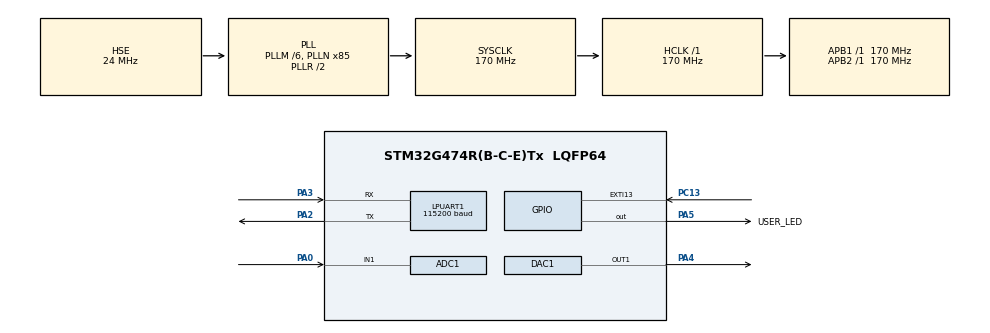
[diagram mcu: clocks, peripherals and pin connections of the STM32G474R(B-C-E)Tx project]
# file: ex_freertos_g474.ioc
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ADC1.Channel-0\#ChannelRegularConversion=ADC_CHANNEL_1
ADC1.ContinuousConvMode=DISABLE
ADC1.DMAContinuousRequests=ENABLE
ADC1.EOCSelection=ADC_EOC_SINGLE_CONV
ADC1.ExternalTrigConv=ADC_EXTERNALTRIG_T8_TRGO
ADC1.NbrOfConversionFlag=1
ADC1.OffsetNumber-0\#ChannelRegularConversion=ADC_OFFSET_NONE
ADC1.OversamplingMode=DISABLE
ADC1.Rank-0\#ChannelRegularConversion=1
ADC1.SamplingTime-0\#ChannelRegularConversion=ADC_SAMPLETIME_2CYCLES_5
ADC1.master=1
DAC1.DAC_Trigger_OUT1-DAC_OUT1=DAC_TRIGGER_T3_TRGO
Dma.ADC1.1.Direction=DMA_PERIPH_TO_MEMORY
Dma.ADC1.1.EventEnable=DISABLE
Dma.ADC1.1.Instance=DMA1_Channel2
Dma.ADC1.1.MemDataAlignment=DMA_MDATAALIGN_HALFWORD
Dma.ADC1.1.MemInc=DMA_MINC_ENABLE
Dma.ADC1.1.Mode=DMA_CIRCULAR
Dma.ADC1.1.PeriphDataAlignment=DMA_PDATAALIGN_HALFWORD
Dma.ADC1.1.PeriphInc=DMA_PINC_DISABLE
Dma.ADC1.1.Polarity=HAL_DMAMUX_REQ_GEN_RISING
Dma.ADC1.1.Priority=DMA_PRIORITY_LOW
Dma.ADC1.1.RequestNumber=1
Dma.ADC1.1.SignalID=NONE
Dma.ADC1.1.SyncEnable=DISABLE
Dma.ADC1.1.SyncPolarity=HAL_DMAMUX_SYNC_NO_EVENT
Dma.ADC1.1.SyncRequestNumber=1
Dma.ADC1.1.SyncSignalID=NONE
Dma.DAC1_CH1.0.Direction=DMA_MEMORY_TO_PERIPH
Dma.DAC1_CH1.0.EventEnable=DISABLE
Dma.DAC1_CH1.0.Instance=DMA1_Channel1
Dma.DAC1_CH1.0.MemDataAlignment=DMA_MDATAALIGN_HALFWORD
Dma.DAC1_CH1.0.MemInc=DMA_MINC_ENABLE
Dma.DAC1_CH1.0.Mode=DMA_CIRCULAR
Dma.DAC1_CH1.0.PeriphDataAlignment=DMA_PDATAALIGN_WORD
Dma.DAC1_CH1.0.PeriphInc=DMA_PINC_DISABLE
Dma.DAC1_CH1.0.Polarity=HAL_DMAMUX_REQ_GEN_RISING
Dma.DAC1_CH1.0.Priority=DMA_PRIORITY_LOW
Dma.DAC1_CH1.0.RequestNumber=1
Dma.DAC1_CH1.0.SignalID=NONE
Dma.DAC1_CH1.0.SyncEnable=DISABLE
Dma.DAC1_CH1.0.SyncPolarity=HAL_DMAMUX_SYNC_NO_EVENT
Dma.DAC1_CH1.0.SyncRequestNumber=1
Dma.DAC1_CH1.0.SyncSignalID=NONE
Dma.Request0=DAC1_CH1
Dma.Request1=ADC1
FREERTOS.Tasks01=defaultTask,0,128,StartDefaultTask,Default,NULL,Dynamic,NULL,NULL
FREERTOS.configENABLE_FPU=1
FREERTOS.configGENERATE_RUN_TIME_STATS=1
FREERTOS.configMAX_PRIORITIES=31
FREERTOS.configRECORD_STACK_HIGH_ADDRESS=1
FREERTOS.configTOTAL_HEAP_SIZE=20480
FREERTOS.configUSE_COUNTING_SEMAPHORES=1
FREERTOS.configUSE_NEWLIB_REENTRANT=1
FREERTOS.configUSE_STATS_FORMATTING_FUNCTIONS=1
FREERTOS.configUSE_TIMERS=1
FREERTOS.configUSE_TRACE_FACILITY=1
LPUART1.BaudRate=115200
Mcu.Family=STM32G4
Mcu.Name=STM32G474R(B-C-E)Tx
Mcu.Package=LQFP64
NVIC.DMA1_Channel1_IRQn=true\:5\:0\:false\:false\:true\:true\:false\:true\:true
NVIC.DMA1_Channel2_IRQn=true\:5\:0\:false\:false\:true\:true\:false\:true\:true
NVIC.EXTI15_10_IRQn=true\:5\:0\:false\:false\:true\:true\:true\:true\:true
NVIC.LPUART1_IRQn=true\:5\:0\:false\:false\:true\:true\:true\:true\:true
NVIC.PriorityGroup=NVIC_PRIORITYGROUP_4
NVIC.TIM1_UP_TIM16_IRQn=true\:15\:0\:false\:false\:true\:false\:false\:true\:true
NVIC.TIM2_IRQn=true\:5\:0\:false\:false\:true\:true\:true\:true\:true
NVIC.TimeBase=TIM1_UP_TIM16_IRQn
NVIC.TimeBaseIP=TIM1
PA0.Mode=IN1-Single-Ended
PA0.Signal=ADC1_IN1
PA13.Mode=Serial_Wire
PA13.Signal=SYS_JTMS-SWDIO
PA14.Mode=Serial_Wire
PA14.Signal=SYS_JTCK-SWCLK
PA2.Mode=Asynchronous
PA2.Signal=LPUART1_TX
PA3.Mode=Asynchronous
PA3.Signal=LPUART1_RX
PA4.Signal=COMP_DAC11_group
PA5.GPIO_Label=USER_LED
PA5.Signal=GPIO_Output
PC13.GPIO_ModeDefaultEXTI=GPIO_MODE_IT_FALLING
PC13.GPIO_PuPd=GPIO_NOPULL
PC13.Signal=GPXTI13
PF0-OSC_IN.Mode=HSE-External-Oscillator
PF0-OSC_IN.Signal=RCC_OSC_IN
PF1-OSC_OUT.Mode=HSE-External-Oscillator
PF1-OSC_OUT.Signal=RCC_OSC_OUT
ProjectManager.HeapSize=0x200
ProjectManager.StackSize=0x400
ProjectManager.TargetToolchain=STM32CubeIDE
RCC.ADC12Freq_Value=170000000
RCC.ADC345Freq_Value=170000000
RCC.AHBFreq_Value=170000000
RCC.APB1Freq_Value=170000000
RCC.APB1TimFreq_Value=170000000
RCC.APB2Freq_Value=170000000
RCC.APB2TimFreq_Value=170000000
RCC.CortexFreq_Value=170000000
RCC.EXTERNAL_CLOCK_VALUE=12288000
RCC.HCLKFreq_Value=170000000
RCC.HSE_VALUE=24000000
RCC.HSI48_VALUE=48000000
RCC.HSI_VALUE=16000000
RCC.LSE_VALUE=32768
RCC.PLLM=RCC_PLLM_DIV6
RCC.PLLN=85
RCC.PLLSourceVirtual=RCC_PLLSOURCE_HSE
RCC.SYSCLKFreq_VALUE=170000000
RCC.SYSCLKSource=RCC_SYSCLKSOURCE_PLLCLK
RCC.USBFreq_Value=170000000
RCC.VCOOutputFreq_Value=340000000
SH.COMP_DAC11_group.0=DAC1_OUT1,DAC_OUT1
TIM2.AutoReloadPreload=TIM_AUTORELOAD_PRELOAD_ENABLE
TIM2.PeriodNoDither=1699
TIM3.AutoReloadPreload=TIM_AUTORELOAD_PRELOAD_ENABLE
TIM3.PeriodNoDither=11067
TIM3.TIM_MasterOutputTrigger=TIM_TRGO_UPDATE
TIM8.AutoReloadPreload=TIM_AUTORELOAD_PRELOAD_ENABLE
TIM8.TIM_MasterOutputTrigger=TIM_TRGO_UPDATE
VP_FREERTOS_VS_CMSIS_V1.Mode=CMSIS_V1
VP_SYS_VS_tim1.Mode=TIM1
VP_TIM2_VS_ClockSourceINT.Mode=Internal
VP_TIM3_VS_ClockSourceINT.Mode=Internal
VP_TIM8_VS_ClockSourceINT.Mode=Internal
board=custom

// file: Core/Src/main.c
/* USER CODE BEGIN Header */
/**
  ******************************************************************************
  * @file           : main.c
  * @brief          : Main program body
  ******************************************************************************
  * @attention
  *
  * Copyright (c) 2023 STMicroelectronics.
  * All rights reserved.
  *
  * This software is licensed under terms that can be found in the LICENSE file
  * in the root directory of this software component.
  * If no LICENSE file comes with this software, it is provided AS-IS.
  *
  ******************************************************************************
  */
/* USER CODE END Header */
#include "main.h"
#include "cmsis_os.h"

/* USER CODE BEGIN Includes */
#include "message_buffer.h"
#include "FreeRTOS_CLI.h"
#include <stdio.h>
#include <stdlib.h>
#include <string.h>
#include "arm_const_structs.h"
/* USER CODE END Includes */

ADC_HandleTypeDef hadc1;
DMA_HandleTypeDef hdma_adc1;

DAC_HandleTypeDef hdac1;
DMA_HandleTypeDef hdma_dac1_ch1;

UART_HandleTypeDef hlpuart1;

TIM_HandleTypeDef htim2;
TIM_HandleTypeDef htim3;
TIM_HandleTypeDef htim8;

osThreadId defaultTaskHandle;

void SystemClock_Config(void);
static void MX_GPIO_Init(void);
static void MX_DMA_Init(void);
static void MX_LPUART1_UART_Init(void);
static void MX_TIM2_Init(void);
static void MX_DAC1_Init(void);
static void MX_ADC1_Init(void);
static void MX_TIM3_Init(void);
static void MX_TIM8_Init(void);
void StartDefaultTask(void const * argument);

/* USER CODE BEGIN PFP */
SemaphoreHandle_t 		mutex_lpuart;
SemaphoreHandle_t 		sem_lpuart;
//SemaphoreHandle_t     sem_adc;
QueueHandle_t 			queue_adc;
//SemaphoreHandle_t 	sem_button;
QueueHandle_t 			queue_button;
QueueHandle_t 			queue_lpuart;
MessageBufferHandle_t 	print_messages_buffer;
TimerHandle_t 			blinky_tm;
TimerHandle_t 			button_tm;

//static xQueueSetMemberHandle link_event;

uint16_t 	adcBuffer[256*2];
float 		ReIm[256*2];
float 		mod[256];
/* USER CODE END PFP */

/* USER CODE BEGIN 0 */

void print_string(char *string, TickType_t timeout) {
	if (xSemaphoreTake(mutex_lpuart, timeout) == pdTRUE){
		(void)xMessageBufferSend(print_messages_buffer, string, strlen(string), portMAX_DELAY);
		xSemaphoreGive(mutex_lpuart);
	}
}

void print_char(char string, TickType_t timeout) {
	if (xSemaphoreTake(mutex_lpuart, timeout) == pdTRUE){
		(void)xMessageBufferSend(print_messages_buffer, &string, 1, portMAX_DELAY);
		xSemaphoreGive(mutex_lpuart);
	}
}

#if 0
static void serial_task1(void *param){
	//uint32_t cnt = 0;
	while(1){
		print_string("Teste de serial 1!\n\r", portMAX_DELAY);
#if 0
		if (xSemaphoreTake(mutex_lpuart, portMAX_DELAY) == pdTRUE){
			//HAL_UART_Transmit_IT(&hlpuart1, (uint8_t *)"Teste de serial 1!\n\r", 20);
			//xSemaphoreTake(sem_lpuart, portMAX_DELAY);
			if (xMessageBufferSend(print_messages_buffer, "Teste de serial 1!\n\r", 20, portMAX_DELAY) == 20){
				cnt++;
			}
			xSemaphoreGive(mutex_lpuart);
			//cnt++;
		}
#endif
		portYIELD();
	}
}

//volatile size_t space = 0;
static void serial_task2(void *param){
	//uint32_t cnt = 0;weasdx
	print_string("Teste de serial 2!\n\r", portMAX_DELAY);
	while(1){
#if 0
		if (xSemaphoreTake(mutex_lpuart, portMAX_DELAY) == pdTRUE){
			//HAL_UART_Transmit_IT(&hlpuart1, (uint8_t *)"Teste de serial 2!\n\r", 20);
			//xSemaphoreTake(sem_lpuart, portMAX_DELAY);
			if (xMessageBufferSend(print_messages_buffer, "Teste de serial 2!\n\r", 20, portMAX_DELAY) == 20) {
				cnt++;
			}
			xSemaphoreGive(mutex_lpuart);
			space = xMessageBufferSpaceAvailable(print_messages_buffer);
			//cnt++;
		}
#endif
		portYIELD();
	}
}

static void sobra_cpu(void *param){
	uint32_t cnt = 0;
	while(1){
		cnt++;
		if (cnt == 100000000) {
			xTimerChangePeriod(blinky_tm, 1000, 0);
		}
	}
}
#endif

void HAL_UART_TxCpltCallback(UART_HandleTypeDef *huart){
	portBASE_TYPE pxHigherPriorityTaskWoken = pdFALSE;
	xSemaphoreGiveFromISR(sem_lpuart, &pxHigherPriorityTaskWoken);
	portYIELD_FROM_ISR(pxHigherPriorityTaskWoken);
}

char lpuart_data;
void HAL_UART_RxCpltCallback(UART_HandleTypeDef *huart){
	portBASE_TYPE pxHigherPriorityTaskWoken = pdFALSE;
	xQueueSendFromISR(queue_lpuart, &lpuart_data, &pxHigherPriorityTaskWoken);
	HAL_UART_Receive_IT(&hlpuart1, (uint8_t *)&lpuart_data, 1);
	portYIELD_FROM_ISR(pxHigherPriorityTaskWoken);
}

void lpuart_get_char(char *data, TickType_t timeout){
	xQueueReceive(queue_lpuart, data, timeout);
}

static void print_task(void *param){
	char mensagem[512];
	while(1){
		size_t len = xMessageBufferReceive(print_messages_buffer, mensagem, 512, portMAX_DELAY);
		if (len) {
			HAL_UART_Transmit_IT(&hlpuart1, (uint8_t *)mensagem, len);
			xSemaphoreTake(sem_lpuart, portMAX_DELAY);
		}
	}
}

static BaseType_t prvTaskStatsCommand( char *pcWriteBuffer,
                                          size_t xWriteBufferLen,
										  const char *pcCommandString )
{
    static BaseType_t state = 0;

    if (!state){
        /* For simplicity, this function assumes the output buffer is large enough
        to hold all the text generated by executing the vTaskList() API function,
        so the xWriteBufferLen parameter is not used. */
        char *head = "Name		State  Priority  Stack  Number\n\r";
        ( void ) xWriteBufferLen;

        /* pcWriteBuffer is used directly as the vTaskList() parameter, so the table
        generated by executing vTaskList() is written directly into the output
        buffer. */
        strcpy(pcWriteBuffer, head);
        vTaskList( &pcWriteBuffer[strlen(head)]);

        /* The entire table was written directly to the output buffer.  Execution
        of this command is complete, so return pdFALSE. */
        state = 1;
        return pdTRUE;
    }else{
        state = 0;
        strcpy(pcWriteBuffer, "\n\r");
        return pdFALSE;
    }
}

static const CLI_Command_Definition_t xTasksCommand =
{
    "tasks",
	"tasks: Lists all the installed tasks\r\n\r\n",
	prvTaskStatsCommand,
    0
};

static BaseType_t prvRunTimeStatsCommand( char *pcWriteBuffer,
                                          size_t xWriteBufferLen,
										  const char *pcCommandString )
{
    /* For simplicity, this function assumes the output buffer is large enough
    to hold all the text generated by executing the vTaskList() API function,
    so the xWriteBufferLen parameter is not used. */
	char *head = "Name		Abs Time      % Time\n\r";
    ( void ) xWriteBufferLen;

    /* pcWriteBuffer is used directly as the vTaskList() parameter, so the table
    generated by executing vTaskList() is written directly into the output
    buffer. */
    strcpy(pcWriteBuffer, head);
    vTaskGetRunTimeStats( &pcWriteBuffer[strlen(head)]);

    /* The entire table was written directly to the output buffer.  Execution
    of this command is complete, so return pdFALSE. */
    return pdFALSE;
}

static const CLI_Command_Definition_t xRunTimeCommand =
{
    "runtime",
	"runtime: Lists the tasks runtime info\r\n\r\n",
	prvRunTimeStatsCommand,
    0
};

uint16_t sin_wave[256];
uint16_t sin_wave_3rd_harmonic[256];
static BaseType_t prvTaskDACCommand( char *pcWriteBuffer,
                                          size_t xWriteBufferLen,
										  const char *pcCommandString )
{
    BaseType_t parameter_lenght;
    const char *parameter = FreeRTOS_CLIGetParameter(pcCommandString, 1, &parameter_lenght);

	if (!strcmp(parameter, "sine")) {
		HAL_TIM_Base_Stop(&htim2);
		HAL_DAC_Stop_DMA(&hdac1, DAC_CHANNEL_1);
		HAL_DAC_Start_DMA(&hdac1, DAC_CHANNEL_1, (uint32_t*)sin_wave, 256, DAC_ALIGN_12B_R);
	    HAL_TIM_Base_Start(&htim2);
	    strcpy(pcWriteBuffer, "Sine set for the DAC signal\n\r");
	}else if (!strcmp(parameter, "sine3rd")){
		HAL_TIM_Base_Stop(&htim2);
		HAL_DAC_Stop_DMA(&hdac1, DAC_CHANNEL_1);
		HAL_DAC_Start_DMA(&hdac1, DAC_CHANNEL_1, (uint32_t*)sin_wave_3rd_harmonic, 256, DAC_ALIGN_12B_R);
	    HAL_TIM_Base_Start(&htim2);
	    strcpy(pcWriteBuffer, "Sine 3rd harmonic set for the DAC signal\n\r");
	}else{
		strcpy(pcWriteBuffer, "Not a valid DAC signal!\n\r");
	}
	return pdFALSE;
}

static const CLI_Command_Definition_t xADCCommand =
{
    "dac_signal",
	"dac_signal: Define the DAC signal (sine or sine3rd)\r\n\r\n",
	prvTaskDACCommand,
    1
};

static BaseType_t prvTaskFFTCommand( char *pcWriteBuffer,
                                          size_t xWriteBufferLen,
										  const char *pcCommandString )
{
    BaseType_t parameter_lenght;
    const char *parameter1 = FreeRTOS_CLIGetParameter(pcCommandString, 1, &parameter_lenght);
    const char *parameter2 = FreeRTOS_CLIGetParameter(pcCommandString, 2, &parameter_lenght);

    int first_harm = atoi(parameter1);
    int number_harm = atoi(parameter2);

    if ((first_harm >= 0) && (number_harm > 0)){
        int len = sprintf(pcWriteBuffer, "FFT result for the current DAC signal (%d, %d): ", first_harm, number_harm);
        for (int i = first_harm; i<(number_harm+first_harm);i++){
        	if (i == 0) {
        		len += sprintf(&pcWriteBuffer[len], "%f ", mod[i]/2.0);
        	}else {
        		len += sprintf(&pcWriteBuffer[len], "%f ", mod[i]);
        	}
        }
        sprintf(&pcWriteBuffer[len], "\n\r");
    }else {
    	strcpy(pcWriteBuffer, "Invalid parameters!\n\r");
    }

	return pdFALSE;
}

static const CLI_Command_Definition_t xFFTCommand =
{
    "fft",
	"fft: Return the FFT of the DAC signal\r\nPamameters: first harmonic and number of harmonics\r\n",
	prvTaskFFTCommand,
    2
};

#define cmdPARAMTER_NOT_USED		( ( void * ) 0 )
#define MAX_INPUT_LENGTH    50
#define MAX_OUTPUT_LENGTH   512
static void shell_task(void *param){
	char cRxedChar;
	BaseType_t cInputIndex = 0;
	BaseType_t xMoreDataToFollow;
	/* The input and output buffers are declared static to keep them off the stack. */
	static char pcOutputString[ MAX_OUTPUT_LENGTH ], pcInputString[ MAX_INPUT_LENGTH ];

	HAL_UART_Receive_IT(&hlpuart1, (uint8_t *)&lpuart_data, 1);

	FreeRTOS_CLIRegisterCommand( &xTasksCommand );
	FreeRTOS_CLIRegisterCommand( &xRunTimeCommand );
	FreeRTOS_CLIRegisterCommand( &xADCCommand );
	FreeRTOS_CLIRegisterCommand( &xFFTCommand );
	print_string("Welcome to FreeRTOS ", portMAX_DELAY);
	print_string(tskKERNEL_VERSION_NUMBER, portMAX_DELAY);
	print_string("\n\r", portMAX_DELAY);

	print_string(">>", portMAX_DELAY);

	while(1){
			/* This implementation reads a single character at a time.  Wait in the
	        Blocked state until a character is received. */
			lpuart_get_char(&cRxedChar, portMAX_DELAY);

	        if( cRxedChar == '\r' )
	        {
	            /* A newline character was received, so the input command string is
	            complete and can be processed.  Transmit a line separator, just to
	            make the output easier to read. */
	        	print_string("\n\r", portMAX_DELAY);

	            /* The command interpreter is called repeatedly until it returns
	            pdFALSE.  See the "Implementing a command" documentation for an
	            exaplanation of why this is. */
	            do
	            {
	                /* Send the command string to the command interpreter.  Any
	                output generated by the command interpreter will be placed in the
	                pcOutputString buffer. */
	                xMoreDataToFollow = FreeRTOS_CLIProcessCommand
	                              (
	                                  pcInputString,   /* The command string.*/
	                                  pcOutputString,  /* The output buffer. */
	                                  MAX_OUTPUT_LENGTH/* The size of the output buffer. */
	                              );

	                /* Write the output generated by the command interpreter to the
	                console. */
	                print_string(pcOutputString, portMAX_DELAY);
	                print_string(">>", portMAX_DELAY);

	            } while( xMoreDataToFollow != pdFALSE );

	            /* All the strings generated by the input command have been sent.
	            Processing of the command is complete.  Clear the input string ready
	            to receive the next command. */
	            cInputIndex = 0;
	            memset( pcInputString, 0x00, MAX_INPUT_LENGTH );
	        }
	        else
	        {
	            /* The if() clause performs the processing after a newline character
	            is received.  This else clause performs the processing if any other
	            character is received. */

	            if( cRxedChar == '\n' )
	            {
	                /* Ignore carriage returns. */
	            }
	            //else if( cRxedChar == '\b' )
	            else if( cRxedChar == 0x7F )
	            {
	                /* Backspace was pressed.  Erase the last character in the input
	                buffer - if there are any. */
	                if( cInputIndex > 0 )
	                {
	                    cInputIndex--;
	                    pcInputString[ cInputIndex ] = (char)'\0';
		                print_char(cRxedChar, portMAX_DELAY);
	                }
	            }
	            else
	            {
	                /* A character was entered.  It was not a new line, backspace
	                or carriage return, so it is accepted as part of the input and
	                placed into the input buffer.  When a \n is entered the complete
	                string will be passed to the command interpreter. */
	                if( cInputIndex < MAX_INPUT_LENGTH )
	                {
	                    pcInputString[ cInputIndex ] = cRxedChar;
	                    cInputIndex++;
	                }
	                print_char(cRxedChar, portMAX_DELAY);
	            }
	        }
	}
}

#define BUTTON_0	(uint8_t)GPIO_PIN_13
#define BUTTON_1	(uint8_t)GPIO_PIN_14

BaseType_t read_button(uint8_t *button, TickType_t timeout){
	return xQueueReceive(queue_button, button, timeout);
}

static void keyboard_task(void *param){
	uint8_t button;
	char buffer[512];
	while(1){
		(void)read_button(&button, portMAX_DELAY);
		if (button == BUTTON_0) {
			vTaskList(buffer);
			print_string(buffer, 10);
		}
	}
}

/*
static void button_task(void *param){
	int cnt = 0;
	while(1){
		xSemaphoreTake(sem_button, portMAX_DELAY);
		cnt++;
		vTaskDelay(100);
		if (HAL_GPIO_ReadPin(GPIOC, BUTTON_0) == GPIO_PIN_RESET) {
			// guardar em uma fila de botões
			uint8_t button = BUTTON_0;
			xQueueSend(queue_button, &button, portMAX_DELAY);
		}
	    __HAL_GPIO_EXTI_CLEAR_IT(BUTTON_0);
		HAL_NVIC_EnableIRQ(EXTI15_10_IRQn);

	}
}
*/
void button_cb(TimerHandle_t xTimer)
{
  (void) xTimer;
	if (HAL_GPIO_ReadPin(GPIOC, BUTTON_0) == GPIO_PIN_RESET) {
		// guardar em uma fila de botões
		uint8_t button = BUTTON_0;
		xQueueSend(queue_button, &button, 0);
	}
  __HAL_GPIO_EXTI_CLEAR_IT(BUTTON_0);
	HAL_NVIC_EnableIRQ(EXTI15_10_IRQn);
}

//volatile uint32_t cnt = 0;
void HAL_GPIO_EXTI_Callback(uint16_t GPIO_Pin)
{
  if (GPIO_Pin == GPIO_PIN_13)
  {
    //cnt++;
    HAL_NVIC_DisableIRQ(EXTI15_10_IRQn);
	portBASE_TYPE pxHigherPriorityTaskWoken = pdFALSE;
	//xSemaphoreGiveFromISR(sem_button, &pxHigherPriorityTaskWoken);
    xTimerStartFromISR(button_tm, &pxHigherPriorityTaskWoken);
	portYIELD_FROM_ISR(pxHigherPriorityTaskWoken);
  }
}

void led_blinky_cb(TimerHandle_t xTimer)
{
  (void) xTimer;
  HAL_GPIO_TogglePin(USER_LED_GPIO_Port, USER_LED_Pin);
}

#if 0
#define EVENTO_0 ( 1 << 0 )
#define EVENTO_1 ( 1 << 1 )

/* Assume-se que o grupo de eventos foi criado anteriormente */
EventGroupHandle_t 	exemplo_grupo_eventos;
EventBits_t 		exemplo_bits_eventos;

static void produtor1(void *param){
	while(1){
		 vTaskDelay(33);
		 exemplo_bits_eventos = xEventGroupSetBits(exemplo_grupo_eventos, EVENTO_0);
	}
}

static void produtor2(void *param){
	while(1){
		vTaskDelay(75);
		exemplo_bits_eventos = xEventGroupSetBits(exemplo_grupo_eventos, EVENTO_1);
	}
}

static void consumidor(void *param){

	while(1){
		exemplo_bits_eventos = xEventGroupWaitBits(
				exemplo_grupo_eventos, 								/* Grupo de eventos sendo testado */
				EVENTO_0 | EVENTO_1, 								/* Bits do grupo de eventos para esperar */
				pdTRUE,												/* Os bits devem ser definidos como 0 antes de retornar. */
				pdTRUE,												/* Espera por ambos os bits */
				100 );												/* Espera por no máximo 100 ms. */

		TickType_t ct = xTaskGetTickCount();
		if (xSemaphoreTake(mutex_lpuart, portMAX_DELAY) == pdTRUE){
			char message[64];
			int len = sprintf(message, "Sincronizacao no tempo: %ld\n", ct);
			(void)xMessageBufferSend(print_messages_buffer, message, len, portMAX_DELAY);
			xSemaphoreGive(mutex_lpuart);
		}
	}
}
#endif

uint16_t sin_wave[256] = {2048, 2098, 2148, 2199, 2249, 2299, 2349, 2399, 2448, 2498, 2547, 2596, 2644, 2692, 2740,
		2787, 2834, 2880, 2926, 2971, 3016, 3060, 3104, 3147, 3189, 3230, 3271, 3311, 3351, 3389,
		3427, 3464, 3500, 3535, 3569, 3602, 3635, 3666, 3697, 3726, 3754, 3782, 3808, 3833, 3857,
		3880, 3902, 3923, 3943, 3961, 3979, 3995, 4010, 4024, 4036, 4048, 4058, 4067, 4074, 4081,
		4086, 4090, 4093, 4095, 4095, 4094, 4092, 4088, 4084, 4078, 4071, 4062, 4053, 4042, 4030,
		4017, 4002, 3987, 3970, 3952, 3933, 3913, 3891, 3869, 3845, 3821, 3795, 3768, 3740, 3711,
		3681, 3651, 3619, 3586, 3552, 3517, 3482, 3445, 3408, 3370, 3331, 3291, 3251, 3210, 3168,
		3125, 3082, 3038, 2994, 2949, 2903, 2857, 2811, 2764, 2716, 2668, 2620, 2571, 2522, 2473,
		2424, 2374, 2324, 2274, 2224, 2174, 2123, 2073, 2022, 1972, 1921, 1871, 1821, 1771, 1721,
		1671, 1622, 1573, 1524, 1475, 1427, 1379, 1331, 1284, 1238, 1192, 1146, 1101, 1057, 1013,
		970, 927, 885, 844, 804, 764, 725, 687, 650, 613, 578, 543, 509, 476, 444,
		414, 384, 355, 327, 300, 274, 250, 226, 204, 182, 162, 143, 125, 108, 93,
		78, 65, 53, 42, 33, 24, 17, 11, 7, 3, 1, 0, 0, 2, 5,
		9, 14, 21, 28, 37, 47, 59, 71, 85, 100, 116, 134, 152, 172, 193,
		215, 238, 262, 287, 313, 341, 369, 398, 429, 460, 493, 526, 560, 595, 631,
		668, 706, 744, 784, 824, 865, 906, 948, 991, 1035, 1079, 1124, 1169, 1215, 1261,
		1308, 1355, 1403, 1451, 1499, 1548, 1597, 1647, 1696, 1746, 1796, 1846, 1896, 1947, 1997,
		2047};

uint16_t sin_wave_3rd_harmonic[256] = {2048, 2136, 2224, 2311, 2398, 2484, 2569, 2652, 2734, 2814, 2892, 2968, 3041, 3112, 3180,
		3245, 3308, 3367, 3423, 3476, 3526, 3572, 3615, 3654, 3690, 3723, 3752, 3778, 3800, 3819,
		3835, 3848, 3858, 3866, 3870, 3872, 3871, 3869, 3864, 3857, 3848, 3838, 3827, 3814, 3801,
		3786, 3771, 3756, 3740, 3725, 3709, 3694, 3679, 3665, 3652, 3639, 3628, 3617, 3608, 3600,
		3594, 3589, 3585, 3584, 3583, 3584, 3587, 3591, 3597, 3604, 3613, 3622, 3633, 3645, 3658,
		3672, 3686, 3701, 3717, 3732, 3748, 3764, 3779, 3794, 3808, 3821, 3833, 3844, 3853, 3860,
		3866, 3870, 3872, 3871, 3868, 3862, 3854, 3842, 3828, 3810, 3789, 3765, 3738, 3707, 3673,
		3635, 3594, 3549, 3501, 3450, 3396, 3338, 3277, 3213, 3146, 3077, 3005, 2930, 2853, 2774,
		2693, 2611, 2527, 2441, 2355, 2268, 2180, 2092, 2003, 1915, 1827, 1740, 1654, 1568, 1484,
		1402, 1321, 1242, 1165, 1090, 1018, 949, 882, 818, 757, 699, 645, 594, 546, 501,
		460, 422, 388, 357, 330, 306, 285, 267, 253, 241, 233, 227, 224, 223, 225,
		229, 235, 242, 251, 262, 274, 287, 301, 316, 331, 347, 363, 378, 394, 409,
		423, 437, 450, 462, 473, 482, 491, 498, 504, 508, 511, 512, 511, 510, 506,
		501, 495, 487, 478, 467, 456, 443, 430, 416, 401, 386, 370, 355, 339, 324,
		309, 294, 281, 268, 257, 247, 238, 231, 226, 224, 223, 225, 229, 237, 247,
		260, 276, 295, 317, 343, 372, 405, 441, 480, 523, 569, 619, 672, 728, 787,
		850, 915, 983, 1054, 1127, 1203, 1281, 1361, 1443, 1526, 1611, 1697, 1784, 1871, 1959,
		2047};

void HAL_ADC_ConvHalfCpltCallback(ADC_HandleTypeDef* hadc){
	portBASE_TYPE pxHigherPriorityTaskWoken = pdFALSE;
	//xSemaphoreGiveFromISR(sem_adc, &pxHigherPriorityTaskWoken);
	uint8_t buffer=1;
	xQueueSendToBackFromISR(queue_adc, &buffer, &pxHigherPriorityTaskWoken);
	portYIELD_FROM_ISR(pxHigherPriorityTaskWoken);
}

void HAL_ADC_ConvCpltCallback(ADC_HandleTypeDef* hadc){
	portBASE_TYPE pxHigherPriorityTaskWoken = pdFALSE;
	//xSemaphoreGiveFromISR(sem_adc, &pxHigherPriorityTaskWoken);
	uint8_t buffer=2;
	xQueueSendToBackFromISR(queue_adc, &buffer, &pxHigherPriorityTaskWoken);
	portYIELD_FROM_ISR(pxHigherPriorityTaskWoken);
}

//volatile int counter = 0;
//volatile int flag = 0;
void HAL_DAC_ConvCpltCallbackCh1(DAC_HandleTypeDef* hadc){
#if 0
	counter++;
	if (counter >= 120){
		counter = 0;
		HAL_TIM_Base_Stop(&htim2);
		HAL_DAC_Stop_DMA(&hdac, DAC_CHANNEL_1);

		if (flag == 0){
			HAL_DAC_Start_DMA(&hdac, DAC_CHANNEL_1, (uint32_t*)sin_wave_3rd_harmonic, 256, DAC_ALIGN_12B_R);
			flag = 1;
		}else{
			HAL_DAC_Start_DMA(&hdac, DAC_CHANNEL_1, (uint32_t*)sin_wave, 256, DAC_ALIGN_12B_R);
			flag = 0;
		}
	    HAL_TIM_Base_Start(&htim2);
	}
#endif
}

void adc_task(void *param){
	HAL_ADC_Start_DMA(&hadc1, (uint32_t *)adcBuffer, 256*2);
    HAL_DAC_Start_DMA(&hdac1, DAC_CHANNEL_1, (uint32_t*)sin_wave_3rd_harmonic, 256, DAC_ALIGN_12B_R);

	HAL_TIM_Base_Start(&htim8);
    HAL_TIM_Base_Start(&htim3);

    uint8_t dual_buffer_choice = 0;
    float cc_value = 0.0;
	while(1){
		//xSemaphoreTake(sem_adc, portMAX_DELAY);
		xQueueReceive(queue_adc, &dual_buffer_choice, portMAX_DELAY);

		int k = 0;
		if (dual_buffer_choice == 1){
			for(int i = 0; i < 256; i++){
				ReIm[k] = (float)adcBuffer[i] * 0.0008056640625;
				cc_value += ReIm[k];
				ReIm[k+1] = 0.0;
				k += 2;
			}
		}
		if (dual_buffer_choice == 2){
			for(int i = 0; i < 256; i++){
				ReIm[k] = (float)adcBuffer[i+256] * 0.0008056640625;
				cc_value += ReIm[k];
				ReIm[k+1] = 0.0;
				k += 2;
			}
		}

		cc_value /= 256;
		float rms = 0.0;
		for(int i = 0; i < 256; i++){
			rms += (ReIm[k] - cc_value) * (ReIm[k] - cc_value);
		}
		rms = sqrtf(rms/256);

		arm_cfft_f32(&arm_cfft_sR_f32_len256,ReIm,0,1);
		arm_cmplx_mag_f32(ReIm,mod,256);
		arm_scale_f32(mod, 0.0078125, mod, 128);

		volatile float fund_phase = atan2f(ReIm[3],ReIm[2])*180/M_PI;	//Fase R da harmonica fundamental
		(void)fund_phase;

	}
}
/* USER CODE END 0 */

int main(void)
{

  /* MCU Configuration--------------------------------------------------------*/

  /* Reset of all peripherals, Initializes the Flash interface and the Systick. */
  HAL_Init();

  /* Configure the system clock */
  SystemClock_Config();

  /* USER CODE BEGIN SysInit */
  //board_init();
  /* USER CODE END SysInit */

  /* Initialize all configured peripherals */
  MX_GPIO_Init();
  MX_DMA_Init();
  MX_LPUART1_UART_Init();
  MX_TIM2_Init();
  MX_DAC1_Init();
  MX_ADC1_Init();
  MX_TIM3_Init();
  MX_TIM8_Init();

  /* USER CODE BEGIN RTOS_MUTEX */
  /* add mutexes, ... */
  mutex_lpuart = xSemaphoreCreateMutex();
  /* USER CODE END RTOS_MUTEX */

  /* USER CODE BEGIN RTOS_SEMAPHORES */
  /* add semaphores, ... */
  sem_lpuart = xSemaphoreCreateBinary();
  //sem_adc = xSemaphoreCreateBinary();
  //sem_button = xSemaphoreCreateBinary();
  /* USER CODE END RTOS_SEMAPHORES */

  /* USER CODE BEGIN RTOS_TIMERS */
  /* start timers, add new ones, ... */
  blinky_tm = xTimerCreate("Blink timer", pdMS_TO_TICKS(200), pdTRUE, NULL, led_blinky_cb);
  xTimerStart(blinky_tm, 0);
  button_tm = xTimerCreate("Button timer", pdMS_TO_TICKS(100), pdFALSE, NULL, button_cb);
  /* USER CODE END RTOS_TIMERS */

  /* USER CODE BEGIN RTOS_QUEUES */
  /* add queues, ... */
  queue_button = xQueueCreate(128, sizeof(uint8_t));
  queue_lpuart = xQueueCreate(128, sizeof(uint8_t));
  queue_adc = xQueueCreate(1, sizeof(uint8_t));
  print_messages_buffer = xMessageBufferCreate(1024);
  /* USER CODE END RTOS_QUEUES */

  /* Create the thread(s) */
  /* definition and creation of defaultTask */
  osThreadDef(defaultTask, StartDefaultTask, osPriorityNormal, 0, 128);
  defaultTaskHandle = osThreadCreate(osThread(defaultTask), NULL);

  /* USER CODE BEGIN RTOS_THREADS */
  /* add threads, ... */
#if 0
  xTaskCreate(serial_task1, "Task serial 1", 256, NULL, 5, NULL);
  xTaskCreate(serial_task2, "Task serial 2", 256, NULL, 5, NULL);
  xTaskCreate(button_task, "Button Task", 256, NULL, 12, NULL);
  xTaskCreate(sobra_cpu, "Sobra CPU", 256, NULL, 1, NULL);
#endif

  xTaskCreate(print_task, "Print Task", 256, NULL, 10, NULL);
  xTaskCreate(keyboard_task, "Keyboard Task", 512, NULL, 5, NULL);
  xTaskCreate(shell_task, "Shell Task", 256, NULL, 2, NULL);
  xTaskCreate(adc_task, "ADC Task", 512, NULL, 6, NULL);

#if 0
  xTaskCreate(produtor1, "Tarefa produtora 1", 256, NULL, 7, NULL);
  xTaskCreate(produtor2, "Tarefa produtora 2", 256, NULL, 8, NULL);
  xTaskCreate(consumidor, "Tarefa consumidora", 256, NULL, 8, NULL);
  /* Tentativa de criar o grupo */
  exemplo_grupo_eventos = xEventGroupCreate();
#endif

  /* USER CODE END RTOS_THREADS */

  /* Start scheduler */
  osKernelStart();

  /* We should never get here as control is now taken by the scheduler */
  /* Infinite loop */
  while (1)
  {

  }
}

void SystemClock_Config(void)
{
  RCC_OscInitTypeDef RCC_OscInitStruct = {0};
  RCC_ClkInitTypeDef RCC_ClkInitStruct = {0};

  /** Configure the main internal regulator output voltage
  */
  HAL_PWREx_ControlVoltageScaling(PWR_REGULATOR_VOLTAGE_SCALE1_BOOST);

  /** Initializes the RCC Oscillators according to the specified parameters
  * in the RCC_OscInitTypeDef structure.
  */
  RCC_OscInitStruct.OscillatorType = RCC_OSCILLATORTYPE_HSE;
  RCC_OscInitStruct.HSEState = RCC_HSE_ON;
  RCC_OscInitStruct.PLL.PLLState = RCC_PLL_ON;
  RCC_OscInitStruct.PLL.PLLSource = RCC_PLLSOURCE_HSE;
  RCC_OscInitStruct.PLL.PLLM = RCC_PLLM_DIV6;
  RCC_OscInitStruct.PLL.PLLN = 85;
  RCC_OscInitStruct.PLL.PLLP = RCC_PLLP_DIV2;
  RCC_OscInitStruct.PLL.PLLQ = RCC_PLLQ_DIV2;
  RCC_OscInitStruct.PLL.PLLR = RCC_PLLR_DIV2;
  if (HAL_RCC_OscConfig(&RCC_OscInitStruct) != HAL_OK)
  {
    Error_Handler();
  }

  /** Initializes the CPU, AHB and APB buses clocks
  */
  RCC_ClkInitStruct.ClockType = RCC_CLOCKTYPE_HCLK|RCC_CLOCKTYPE_SYSCLK
                              |RCC_CLOCKTYPE_PCLK1|RCC_CLOCKTYPE_PCLK2;
  RCC_ClkInitStruct.SYSCLKSource = RCC_SYSCLKSOURCE_PLLCLK;
  RCC_ClkInitStruct.AHBCLKDivider = RCC_SYSCLK_DIV1;
  RCC_ClkInitStruct.APB1CLKDivider = RCC_HCLK_DIV1;
  RCC_ClkInitStruct.APB2CLKDivider = RCC_HCLK_DIV1;

  if (HAL_RCC_ClockConfig(&RCC_ClkInitStruct, FLASH_LATENCY_4) != HAL_OK)
  {
    Error_Handler();
  }
}

static void MX_ADC1_Init(void)
{

  ADC_MultiModeTypeDef multimode = {0};
  ADC_ChannelConfTypeDef sConfig = {0};

  /** Common config
  */
  hadc1.Instance = ADC1;
  hadc1.Init.ClockPrescaler = ADC_CLOCK_SYNC_PCLK_DIV4;
  hadc1.Init.Resolution = ADC_RESOLUTION_12B;
  hadc1.Init.DataAlign = ADC_DATAALIGN_RIGHT;
  hadc1.Init.GainCompensation = 0;
  hadc1.Init.ScanConvMode = ADC_SCAN_DISABLE;
  hadc1.Init.EOCSelection = ADC_EOC_SINGLE_CONV;
  hadc1.Init.LowPowerAutoWait = DISABLE;
  hadc1.Init.ContinuousConvMode = DISABLE;
  hadc1.Init.NbrOfConversion = 1;
  hadc1.Init.DiscontinuousConvMode = DISABLE;
  hadc1.Init.ExternalTrigConv = ADC_EXTERNALTRIG_T8_TRGO;
  hadc1.Init.ExternalTrigConvEdge = ADC_EXTERNALTRIGCONVEDGE_RISING;
  hadc1.Init.DMAContinuousRequests = ENABLE;
  hadc1.Init.Overrun = ADC_OVR_DATA_PRESERVED;
  hadc1.Init.OversamplingMode = DISABLE;
  if (HAL_ADC_Init(&hadc1) != HAL_OK)
  {
    Error_Handler();
  }

  /** Configure the ADC multi-mode
  */
  multimode.Mode = ADC_MODE_INDEPENDENT;
  if (HAL_ADCEx_MultiModeConfigChannel(&hadc1, &multimode) != HAL_OK)
  {
    Error_Handler();
  }

  /** Configure Regular Channel
  */
  sConfig.Channel = ADC_CHANNEL_1;
  sConfig.Rank = ADC_REGULAR_RANK_1;
  sConfig.SamplingTime = ADC_SAMPLETIME_2CYCLES_5;
  sConfig.SingleDiff = ADC_SINGLE_ENDED;
  sConfig.OffsetNumber = ADC_OFFSET_NONE;
  sConfig.Offset = 0;
  if (HAL_ADC_ConfigChannel(&hadc1, &sConfig) != HAL_OK)
  {
    Error_Handler();
  }

}

static void MX_DAC1_Init(void)
{

  DAC_ChannelConfTypeDef sConfig = {0};

  /** DAC Initialization
  */
  hdac1.Instance = DAC1;
  if (HAL_DAC_Init(&hdac1) != HAL_OK)
  {
    Error_Handler();
  }

  /** DAC channel OUT1 config
  */
  sConfig.DAC_HighFrequency = DAC_HIGH_FREQUENCY_INTERFACE_MODE_AUTOMATIC;
  sConfig.DAC_DMADoubleDataMode = DISABLE;
  sConfig.DAC_SignedFormat = DISABLE;
  sConfig.DAC_SampleAndHold = DAC_SAMPLEANDHOLD_DISABLE;
  sConfig.DAC_Trigger = DAC_TRIGGER_T3_TRGO;
  sConfig.DAC_Trigger2 = DAC_TRIGGER_NONE;
  sConfig.DAC_OutputBuffer = DAC_OUTPUTBUFFER_ENABLE;
  sConfig.DAC_ConnectOnChipPeripheral = DAC_CHIPCONNECT_EXTERNAL;
  sConfig.DAC_UserTrimming = DAC_TRIMMING_FACTORY;
  if (HAL_DAC_ConfigChannel(&hdac1, &sConfig, DAC_CHANNEL_1) != HAL_OK)
  {
    Error_Handler();
  }

}

static void MX_LPUART1_UART_Init(void)
{

  hlpuart1.Instance = LPUART1;
  hlpuart1.Init.BaudRate = 115200;
  hlpuart1.Init.WordLength = UART_WORDLENGTH_8B;
  hlpuart1.Init.StopBits = UART_STOPBITS_1;
  hlpuart1.Init.Parity = UART_PARITY_NONE;
  hlpuart1.Init.Mode = UART_MODE_TX_RX;
  hlpuart1.Init.HwFlowCtl = UART_HWCONTROL_NONE;
  hlpuart1.Init.OneBitSampling = UART_ONE_BIT_SAMPLE_DISABLE;
  hlpuart1.Init.ClockPrescaler = UART_PRESCALER_DIV1;
  hlpuart1.AdvancedInit.AdvFeatureInit = UART_ADVFEATURE_NO_INIT;
  if (HAL_UART_Init(&hlpuart1) != HAL_OK)
  {
    Error_Handler();
  }
  if (HAL_UARTEx_SetTxFifoThreshold(&hlpuart1, UART_TXFIFO_THRESHOLD_1_8) != HAL_OK)
  {
    Error_Handler();
  }
  if (HAL_UARTEx_SetRxFifoThreshold(&hlpuart1, UART_RXFIFO_THRESHOLD_1_8) != HAL_OK)
  {
    Error_Handler();
  }
  if (HAL_UARTEx_DisableFifoMode(&hlpuart1) != HAL_OK)
  {
    Error_Handler();
  }

}

static void MX_TIM2_Init(void)
{

  TIM_ClockConfigTypeDef sClockSourceConfig = {0};
  TIM_MasterConfigTypeDef sMasterConfig = {0};

  htim2.Instance = TIM2;
  htim2.Init.Prescaler = 0;
  htim2.Init.CounterMode = TIM_COUNTERMODE_UP;
  htim2.Init.Period = 1699;
  htim2.Init.ClockDivision = TIM_CLOCKDIVISION_DIV1;
  htim2.Init.AutoReloadPreload = TIM_AUTORELOAD_PRELOAD_ENABLE;
  if (HAL_TIM_Base_Init(&htim2) != HAL_OK)
  {
    Error_Handler();
  }
  sClockSourceConfig.ClockSource = TIM_CLOCKSOURCE_INTERNAL;
  if (HAL_TIM_ConfigClockSource(&htim2, &sClockSourceConfig) != HAL_OK)
  {
    Error_Handler();
  }
  sMasterConfig.MasterOutputTrigger = TIM_TRGO_RESET;
  sMasterConfig.MasterSlaveMode = TIM_MASTERSLAVEMODE_DISABLE;
  if (HAL_TIMEx_MasterConfigSynchronization(&htim2, &sMasterConfig) != HAL_OK)
  {
    Error_Handler();
  }

}

static void MX_TIM3_Init(void)
{

  TIM_ClockConfigTypeDef sClockSourceConfig = {0};
  TIM_MasterConfigTypeDef sMasterConfig = {0};

  htim3.Instance = TIM3;
  htim3.Init.Prescaler = 0;
  htim3.Init.CounterMode = TIM_COUNTERMODE_UP;
  htim3.Init.Period = 11067;
  htim3.Init.ClockDivision = TIM_CLOCKDIVISION_DIV1;
  htim3.Init.AutoReloadPreload = TIM_AUTORELOAD_PRELOAD_ENABLE;
  if (HAL_TIM_Base_Init(&htim3) != HAL_OK)
  {
    Error_Handler();
  }
  sClockSourceConfig.ClockSource = TIM_CLOCKSOURCE_INTERNAL;
  if (HAL_TIM_ConfigClockSource(&htim3, &sClockSourceConfig) != HAL_OK)
  {
    Error_Handler();
  }
  sMasterConfig.MasterOutputTrigger = TIM_TRGO_UPDATE;
  sMasterConfig.MasterSlaveMode = TIM_MASTERSLAVEMODE_DISABLE;
  if (HAL_TIMEx_MasterConfigSynchronization(&htim3, &sMasterConfig) != HAL_OK)
  {
    Error_Handler();
  }

}

static void MX_TIM8_Init(void)
{

  TIM_ClockConfigTypeDef sClockSourceConfig = {0};
  TIM_MasterConfigTypeDef sMasterConfig = {0};

  htim8.Instance = TIM8;
  htim8.Init.Prescaler = 0;
  htim8.Init.CounterMode = TIM_COUNTERMODE_UP;
  htim8.Init.Period = 11067;
  htim8.Init.ClockDivision = TIM_CLOCKDIVISION_DIV1;
  htim8.Init.RepetitionCounter = 0;
  htim8.Init.AutoReloadPreload = TIM_AUTORELOAD_PRELOAD_ENABLE;
  if (HAL_TIM_Base_Init(&htim8) != HAL_OK)
  {
    Error_Handler();
  }
  sClockSourceConfig.ClockSource = TIM_CLOCKSOURCE_INTERNAL;
  if (HAL_TIM_ConfigClockSource(&htim8, &sClockSourceConfig) != HAL_OK)
  {
    Error_Handler();
  }
  sMasterConfig.MasterOutputTrigger = TIM_TRGO_UPDATE;
  sMasterConfig.MasterOutputTrigger2 = TIM_TRGO2_RESET;
  sMasterConfig.MasterSlaveMode = TIM_MASTERSLAVEMODE_DISABLE;
  if (HAL_TIMEx_MasterConfigSynchronization(&htim8, &sMasterConfig) != HAL_OK)
  {
    Error_Handler();
  }

}

static void MX_DMA_Init(void)
{

  /* DMA controller clock enable */
  __HAL_RCC_DMAMUX1_CLK_ENABLE();
  __HAL_RCC_DMA1_CLK_ENABLE();

  /* DMA interrupt init */
  /* DMA1_Channel1_IRQn interrupt configuration */
  HAL_NVIC_SetPriority(DMA1_Channel1_IRQn, 5, 0);
  HAL_NVIC_EnableIRQ(DMA1_Channel1_IRQn);
  /* DMA1_Channel2_IRQn interrupt configuration */
  HAL_NVIC_SetPriority(DMA1_Channel2_IRQn, 5, 0);
  HAL_NVIC_EnableIRQ(DMA1_Channel2_IRQn);

}

static void MX_GPIO_Init(void)
{
  GPIO_InitTypeDef GPIO_InitStruct = {0};

  /* GPIO Ports Clock Enable */
  __HAL_RCC_GPIOC_CLK_ENABLE();
  __HAL_RCC_GPIOF_CLK_ENABLE();
  __HAL_RCC_GPIOA_CLK_ENABLE();

  /*Configure GPIO pin Output Level */
  HAL_GPIO_WritePin(USER_LED_GPIO_Port, USER_LED_Pin, GPIO_PIN_RESET);

  /*Configure GPIO pin : PC13 */
  GPIO_InitStruct.Pin = GPIO_PIN_13;
  GPIO_InitStruct.Mode = GPIO_MODE_IT_FALLING;
  GPIO_InitStruct.Pull = GPIO_NOPULL;
  HAL_GPIO_Init(GPIOC, &GPIO_InitStruct);

  /*Configure GPIO pin : USER_LED_Pin */
  GPIO_InitStruct.Pin = USER_LED_Pin;
  GPIO_InitStruct.Mode = GPIO_MODE_OUTPUT_PP;
  GPIO_InitStruct.Pull = GPIO_NOPULL;
  GPIO_InitStruct.Speed = GPIO_SPEED_FREQ_LOW;
  HAL_GPIO_Init(USER_LED_GPIO_Port, &GPIO_InitStruct);

  /* EXTI interrupt init*/
  HAL_NVIC_SetPriority(EXTI15_10_IRQn, 5, 0);
  HAL_NVIC_EnableIRQ(EXTI15_10_IRQn);

}

/* USER CODE BEGIN 4 */
extern unsigned int ulHighFrequencyTimerTicks;
/* USER CODE END 4 */

void StartDefaultTask(void const * argument)
{
  for(;;)
  {
    osDelay(1);
  }
}

void HAL_TIM_PeriodElapsedCallback(TIM_HandleTypeDef *htim)
{
  if (htim->Instance == TIM1) {
    HAL_IncTick();
  }
  /* USER CODE BEGIN Callback 1 */
  if (htim->Instance == TIM2) {
	  ulHighFrequencyTimerTicks++;
  }
  /* USER CODE END Callback 1 */
}

void Error_Handler(void)
{
  __disable_irq();
  while (1)
  {
  }
}

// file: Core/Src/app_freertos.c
/* USER CODE BEGIN Header */
/**
  ******************************************************************************
  * File Name          : app_freertos.c
  * Description        : Code for freertos applications
  ******************************************************************************
  * @attention
  *
  * Copyright (c) 2023 STMicroelectronics.
  * All rights reserved.
  *
  * This software is licensed under terms that can be found in the LICENSE file
  * in the root directory of this software component.
  * If no LICENSE file comes with this software, it is provided AS-IS.
  *
  ******************************************************************************
  */
/* USER CODE END Header */

#include "FreeRTOS.h"
#include "task.h"
#include "main.h"

/* Hook prototypes */
void configureTimerForRunTimeStats(void);
unsigned long getRunTimeCounterValue(void);

/* USER CODE BEGIN 1 */
/* Functions needed when configGENERATE_RUN_TIME_STATS is on */
extern TIM_HandleTypeDef htim2;
void configureTimerForRunTimeStats( void ){
	HAL_TIM_Base_Start_IT(&htim2);
}

unsigned int ulHighFrequencyTimerTicks = 0;
unsigned long getRunTimeCounterValue(void){
	return ulHighFrequencyTimerTicks;
}
/* USER CODE END 1 */
